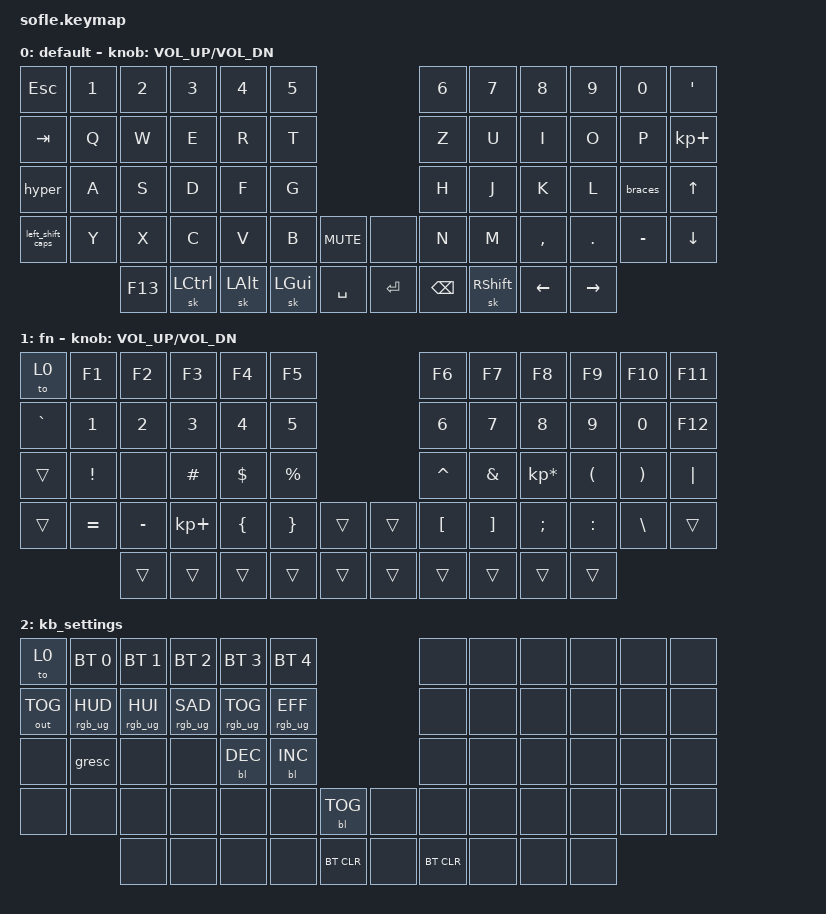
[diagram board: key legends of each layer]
/*
 * Copyright (c) 2020 The ZMK Contributors
 *
 * SPDX-License-Identifier: MIT
 */

#include <behaviors.dtsi>
#include <dt-bindings/zmk/backlight.h>
#include <dt-bindings/zmk/bt.h>
#include <dt-bindings/zmk/keys.h>
#include <dt-bindings/zmk/outputs.h>
#include <dt-bindings/zmk/rgb.h>

#define BASE 0
#define LOWER 1
#define RAISE 2
#define ADJUST 3

&inc_dec_kp {
    bindings = <&encoder_increment>, <&encoder_decrement>;
};

/ {
    // Activate ADJUST layer by pressing raise and lower

    conditional_layers { compatible = "zmk,conditional-layers"; };

    combos {
        compatible = "zmk,combos";

        fn_layer_sticky {
            bindings = <&sl 1>;
            key-positions = <0 50>;
            layers = <0>;
        };

        bluetooth_layer_toggle {
            bindings = <&sl 2>;
            key-positions = <2 50>;
            layers = <0 1 2>;
        };

        dictation {
            bindings = <&kp F14>;
            key-positions = <50 40>;
            layers = <0>;
        };
    };

    macros {
        hyper: hyper {
            compatible = "zmk,behavior-macro";
            #binding-cells = <0>;
            bindings = <&sk LGUI &sk LSHFT &sk LALT &sk LCTRL>;
            label = "HYPER";
        };
    };

    behaviors {
        braces: braces {
            compatible = "zmk,behavior-mod-morph";
            label = "BRACES";
            bindings = <&kp LEFT_BRACE>, <&kp RIGHT_BRACE>;

            #binding-cells = <0>;
            mods = <(MOD_RSFT|MOD_LSFT)>;
        };

        encoder_increment: encoder_increment {
            compatible = "zmk,behavior-mod-morph";
            label = "ENCODER_INCREMENT";
            bindings = <&kp C_BRIGHTNESS_INC>, <&kp C_VOLUME_UP>;

            #binding-cells = <0>;
            mods = <(MOD_LCTL)>;
        };

        encoder_decrement: encoder_decrement {
            compatible = "zmk,behavior-mod-morph";
            label = "ENCODER_DECREMENT";
            bindings = <&kp C_BRIGHTNESS_DEC>, <&kp C_VOLUME_DOWN>;

            #binding-cells = <0>;
            mods = <(MOD_LCTL)>;
        };

        left_shift_caps: left_shift_caps {
            compatible = "zmk,behavior-tap-dance";
            label = "LEFT_SHIFT_CAPS";
            #binding-cells = <0>;
            tapping-term-ms = <650>;
            bindings = <&sk LEFT_SHIFT>, <&kp CAPSLOCK>;
        };
    };

    keymap {
        compatible = "zmk,keymap";

        default_layer {
            label = "default";

            // ------------------------------------------------------------------------------------------------------------
            // |   `   |  1  |  2  |  3   |  4   |  5   |                   |  6   |  7    |  8    |  9   |   0   |       |
            // |  ESC  |  Q  |  W  |  E   |  R   |  T   |                   |  Y   |  U    |  I    |  O   |   P   | BKSPC |
            // |  TAB  |  A  |  S  |  D   |  F   |  G   |                   |  H   |  J    |  K    |  L   |   ;   |   '   |
            // | SHIFT |  Z  |  X  |  C   |  V   |  B   |  MUTE  |  |       |  N   |  M    |  ,    |  .   |   /   | SHIFT |
            //               | GUI | ALT  | CTRL | LOWER|  ENTER |  | SPACE | RAISE| CTRL  | ALT   | GUI  |

            bindings = <
&kp ESC           &kp NUMBER_1  &kp N2   &kp N3     &kp N4    &kp N5                             &kp N6         &kp N7           &kp N8          &kp N9           &kp N0     &kp SQT
&kp TAB           &kp Q         &kp W    &kp E      &kp R     &kp T                              &kp Z          &kp U            &kp I           &kp O            &kp P      &kp KP_PLUS
&hyper            &kp A         &kp S    &kp D      &kp F     &kp G                              &kp H          &kp J            &kp K           &kp L            &braces    &kp UP_ARROW
&left_shift_caps  &kp Y         &kp X    &kp C      &kp V     &kp B     &kp K_MUTE    &none      &kp N          &kp M            &kp COMMA       &kp DOT          &kp MINUS  &kp DOWN_ARROW
                                &kp F13  &sk LCTRL  &sk LALT  &sk LGUI  &kp SPACE     &kp ENTER  &kp BACKSPACE  &sk RIGHT_SHIFT  &kp LEFT_ARROW  &kp RIGHT_ARROW
            >;

            sensor-bindings = <&inc_dec_kp C_VOL_UP C_VOL_DN>;
        };

        fn_layer {
            label = "fn";

            // TODO: Some binds are waiting for shifted keycode support.
            // ------------------------------------------------------------------------------------------------------------
            // |       |  F1 |  F2 |  F3  |  F4  |  F5  |                   |  F6  |  F7   |  F8   |  F9  |  F10  |  F11  |
            // |   `   |  1  |  2  |  3   |  4   |  5   |                   |  6   |  7    |  8    |  9   |   0   |  F12  |
            // |       |  !  |  @  |  #   |  $   |  %   |                   |  ^   |  &    |  *    |  (   |   )   |   |   |
            // |       |  =  |  -  |  +   |  {   |  }   |        |  |       |  [   |  ]    |  ;    |  :   |   \   |       |
            //               |     |      |      |      |        |  |       |      |       |       |      |

            bindings = <
&to 0      &kp F1     &kp F2     &kp F3       &kp F4    &kp F5                       &kp F6     &kp F7    &kp F8           &kp F9     &kp F10   &kp F11
&kp GRAVE  &kp N1     &kp N2     &kp N3       &kp N4    &kp N5                       &kp N6     &kp N7    &kp N8           &kp N9     &kp N0    &kp F12
&trans     &kp EXCL   &none      &kp HASH     &kp DLLR  &kp PRCNT                    &kp CARET  &kp AMPS  &kp KP_MULTIPLY  &kp LPAR   &kp RPAR  &kp PIPE
&trans     &kp EQUAL  &kp MINUS  &kp KP_PLUS  &kp LBRC  &kp RBRC   &trans    &trans  &kp LBKT   &kp RBKT  &kp SEMI         &kp COLON  &kp BSLH  &trans
                      &trans     &trans       &trans    &trans     &trans    &trans  &trans     &trans    &trans           &trans
            >;

            sensor-bindings = <&inc_dec_kp C_VOL_UP C_VOL_DN>;
        };

        kb_settings_layer {
            // ----------------------------------------------------------------------------------------------------------------------------
            // | BTCLR  |  BT1    |  BT2    |   BT3   |   BT4   |   BT5   |                  |      |      |       |      |       |       |
            // | EXTPWR | RGB_HUD | RGB_HUI | RGB_SAD | RGB_SAI | RGB_EFF |                  |      |      |       |      |       |       |
            // |        | RGB_BRD | RGB_BRI |         |         |         |                  |      |      |       |      |       |       |
            // |        |         |         |         |         |         | RGB_TOG | |      |      |      |       |      |       |       |
            //                    |         |         |         |         |         | |      |      |      |       |      |

            label = "kb_settings";
            bindings = <
&to 0         &bt BT_SEL 0     &bt BT_SEL 1     &bt BT_SEL 2     &bt BT_SEL 3     &bt BT_SEL 4                          &none       &none  &none  &none  &none  &none
&out OUT_TOG  &rgb_ug RGB_HUD  &rgb_ug RGB_HUI  &rgb_ug RGB_SAD  &rgb_ug RGB_TOG  &rgb_ug RGB_EFF                       &none       &none  &none  &none  &none  &none
&none         &gresc           &none            &none            &bl BL_DEC       &bl BL_INC                            &none       &none  &none  &none  &none  &none
&none         &none            &none            &none            &none            &none            &bl BL_TOG    &none  &none       &none  &none  &none  &none  &none
                               &none            &none            &none            &none            &bt BT_CLR    &none  &bt BT_CLR  &none  &none  &none
            >;
        };
    };
};
